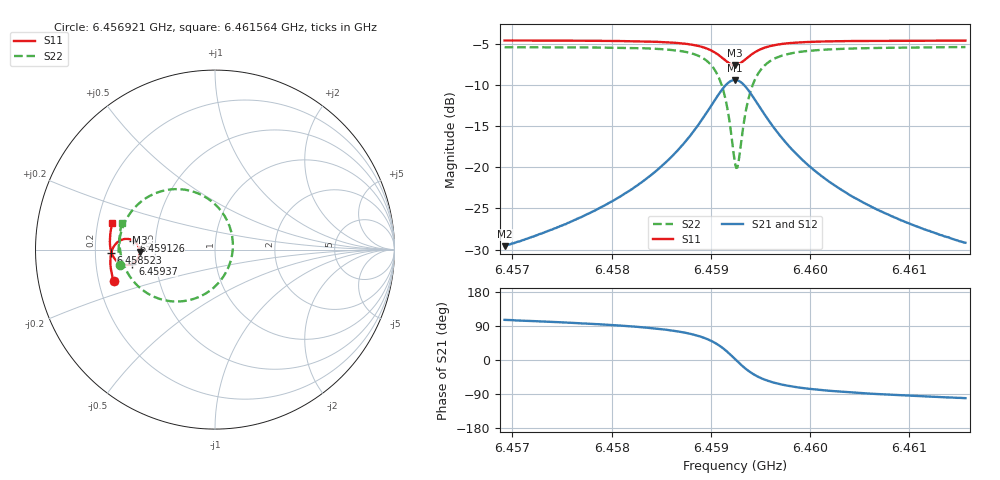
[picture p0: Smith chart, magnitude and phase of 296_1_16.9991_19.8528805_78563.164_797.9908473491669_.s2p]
#  HZ  S  RI  R  50.00
! Rohde & Schwarz Vector Network Analyzer
! Rohde-Schwarz,ZNB20-2Port,1311601062101988,3.16
! Created: UTC 3/20/2024, 11:05:18 PM
! freq[Hz]  re:S11  im:S11  re:S21  im:S21  re:S12  im:S12  re:S22  im:S22
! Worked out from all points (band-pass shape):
!   401 points, 6.456921 GHz to 6.461564 GHz, reference 50 ohm
!   highest |S21| = -9.35 dB at 6.459242 GHz (marker M1); lowest = -29.6 dB at 6.456921 GHz (marker M2)
!   |S21| within 3 dB of the highest: 6.45901 GHz to 6.459474 GHz (464.4 kHz wide, 0.00719 % of centre)
!   lowest |S11| = -7.5 dB at 6.459242 GHz (marker M3), VSWR 2.44, Z = 20.5 - j0.629 ohm
!   |S11| at or under -10 dB: nowhere
!   |S22| runs from -20.1 to -5.4 dB; largest |S21 - S12| = 0.013
!   S11 on the Smith chart (normalised r, x): 6.456921 GHz: 0.26, -0.14; 6.458523 GHz: 0.27, -0.01; 6.459126 GHz: 0.37, +0.05; 6.45937 GHz: 0.37, -0.07; 6.461564 GHz: 0.26, +0.12
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6.4569207e9  -0.5652 -0.1769  -0.00909 0.0319  -0.00727 0.0319  -0.5312 -0.087
6.4576984e9  -0.5799 -0.1091  -0.00569 0.0496  -0.0033 0.0491  -0.5373 0.00274
6.4580931e9  -0.5831 -0.0701  -0.00081 0.0668  0.00236 0.0656  -0.5308 0.0633
6.4584761e9  -0.5796 -0.0248  0.0136 0.0975  0.0175 0.0948  -0.5047 0.1465
6.4585225e9  -0.5783 -0.0186  0.0168 0.1029  0.0208 0.0999  -0.4986 0.1597
6.4587315e9  -0.5663 0.0133  0.0426 0.1343  0.0467 0.1296  -0.4506 0.2303
6.4588823e9  -0.5453 0.0397  0.0847 0.1644  0.0879 0.158  -0.3734 0.2937
6.4590332e9  -0.4992 0.0594  0.1754 0.1833  0.1765 0.1761  -0.2082 0.3369
6.4591261e9  -0.455 0.0497  0.2643 0.1528  0.2646 0.1467  -0.0449 0.2876
6.4591725e9  -0.4341 0.031  0.3074 0.1104  0.3086 0.1051  0.0362 0.2127
6.4592422e9  -0.4192 -0.0127  0.3406 0.0151  0.3438 0.00799  0.0995 0.0366
6.4592538e9  -0.4196 -0.0206  0.3403 -0.00256  0.3439 -0.0102  0.0992 0.00379
6.459277e9  -0.4229 -0.0361  0.3348 -0.0368  0.3386 -0.0459  0.0883 -0.0606
6.459335e9  -0.4435 -0.0669  0.2973 -0.1079  0.2986 -0.1199  0.0125 -0.1931
6.4593698e9  -0.4601 -0.0781  0.2657 -0.1365  0.2646 -0.1493  -0.0513 -0.2444
6.4594627e9  -0.5031 -0.085  0.1822 -0.1673  0.176 -0.1786  -0.2162 -0.2894
6.4596136e9  -0.5467 -0.0648  0.0954 -0.1541  0.087 -0.1601  -0.3802 -0.2412
6.4597761e9  -0.5682 -0.0372  0.0512 -0.1267  0.0436 -0.1295  -0.4591 -0.1705
6.4600198e9  -0.581 -0.0017  0.0223 -0.096  0.0165 -0.0964  -0.5063 -0.0894
6.4604029e9  -0.5857 0.0433  0.00536 -0.0674  0.00156 -0.067  -0.5283 -0.00501
6.4607975e9  -0.5838 0.0825  -0.00133 -0.0512  -0.00414 -0.0502  -0.5315 0.0562
6.4615636e9  -0.5718 0.1502  -0.00643 -0.0342  -0.00804 -0.0332  -0.52 0.1455
